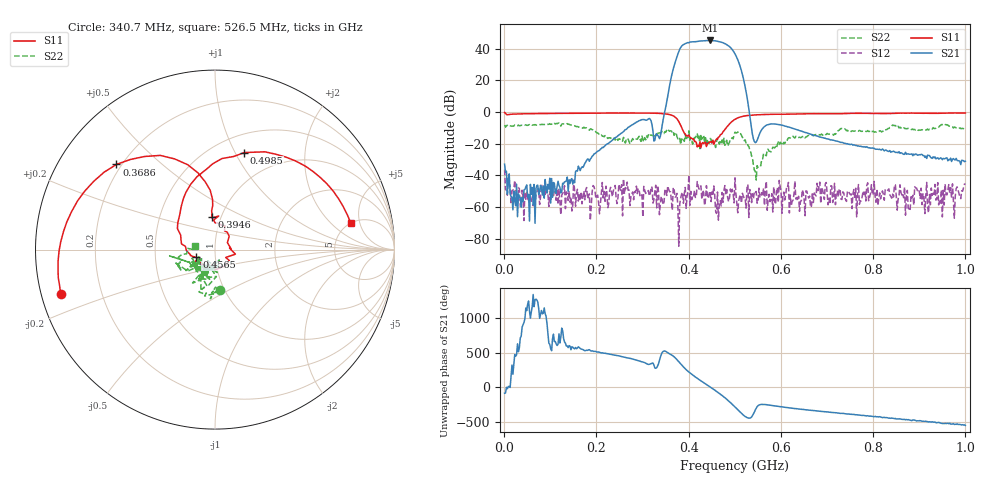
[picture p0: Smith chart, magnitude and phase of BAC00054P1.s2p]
!measured: 2026-10-27T15:13:03
!cal_instance: BBtestOct27
!cal_created: 2026-10-27T14:45
!cal_file: BBtesting.cal
!port1_delay_ps: -58.63
!port2_delay_ps: -59.31
!host: dhcp-10-250-247-203.harvard.edu
! Created with skrf 2.1.0 (http://scikit-rf.org).
# Hz S RI R 50.0
!freq ReS11 ImS11 ReS21 ImS21 ReS12 ImS12 ReS22 ImS22
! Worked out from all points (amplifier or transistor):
!   501 points, 1 MHz to 1 GHz, reference 50 ohm
!   highest |S21| = 45.1 dB at 446.6 MHz (marker M1)
!   |S21| within 3 dB of that: 387 MHz to 484.7 MHz (97.73 MHz wide, 22.4 % of centre)
!   unconditionally stable (mu >= 1): start of sweep to 399.8 MHz; 454.5 MHz to 500.4 MHz; 500.9 MHz to end of sweep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
!   at 166.8 MHz: K = 1502.82, MAG = -27.4 dB, |S12| = -50.3 dB
!   at 500.5 MHz: K = 0.94, MSG = 39.1 dB, |S12| = -41.5 dB
!   at 1 GHz: K = 443.68, MAG = -22.2 dB, |S12| = -45.5 dB
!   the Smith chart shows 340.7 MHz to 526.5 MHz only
!   S11 on the Smith chart (normalised r, x): 340.7 MHz: 0.06, -0.14; 368.6 MHz: 0.18, +0.36; 394.6 MHz: 0.90, +0.34; 456.5 MHz: 0.81, -0.07; 498.5 MHz: 0.69, +1.09; 526.5 MHz: 4.97, +3.65
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1000000  -0.2422 0.9377  0.00201 -0.0225  -0.00582 -0.014  0.3829 -0.065
1.68832e8  0.4896 -0.7679  -0.0182 -0.00408  0.00126 0.000185  -0.034 -0.3148
3.34666e8  -0.8276 -0.366  0.1612 -0.0541  0.00316 -0.000185  0.0209 -0.2214
3.4066e8  -0.8595 -0.2492  -0.109 0.2253  0.00214 -0.000504  0.0256 -0.2277
3.68632e8  -0.5489 0.4746  3.552 28.54  -0.00346 0.000658  -0.0791 -0.1661
3.82618e8  -0.0544 0.3779  101 -35.04  0.00186 0.000335  -0.0876 -0.035
3.94606e8  -0.0188 0.1816  -33.96 -142.5  -0.000741 -0.000537  -0.1108 -0.0674
4.08592e8  0.0379 0.1346  -162.3 3.118  -0.00177 -0.00135  -0.0436 -0.086
4.24576e8  0.1137 -0.0253  -41.7 166.9  0.00448 0.000186  0.0241 -0.0579
4.34566e8  0.0309 -0.1016  88.79 151.3  0.000551 0.000986  -0.0237 -0.1003
4.46554e8  -0.0842 -0.0783  178.4 19.45  0.000455 -0.00319  -0.1295 -0.0683
4.56544e8  -0.1039 -0.0431  134.8 -111.5  -0.00181 -0.00151  0.00667 -0.0942
4.68532e8  -0.1866 0.0318  -21.24 -161.1  -0.000164 0.00159  -0.0594 -0.1089
4.8052e8  -0.1897 0.234  -130.7 -45.51  0.00117 -0.00236  -0.0196 -0.1051
4.9051e8  -0.0506 0.4455  -82.51 69.15  0.00358 0.00107  -0.0637 -0.1264
4.98502e8  0.1631 0.5406  2.029 75.97  0.000581 0.00124  -0.1515 -0.1202
5.005e8  0.224 0.5429  17.2 65.37  0.00539 0.00642  -0.2177 -0.0745
5.12488e8  0.5442 0.4367  24.93 -2.166  -0.00193 -0.00153  -0.203 -0.041
5.26474e8  0.7561 0.149  0.6522 -2.933  -0.000875 0.00405  -0.1089 0.0202
6.68332e8  0.0359 -0.8812  0.1742 0.0806  0.00151 0.00249  0.0178 -0.1873
8.34166e8  -0.613 -0.656  0.00293 -0.0569  -0.00122 -0.00357  -0.1913 -0.236
1e9  -0.8945 -0.2348  -0.0274 0.00581  0.00526 0.000443  -0.2548 -0.1715
